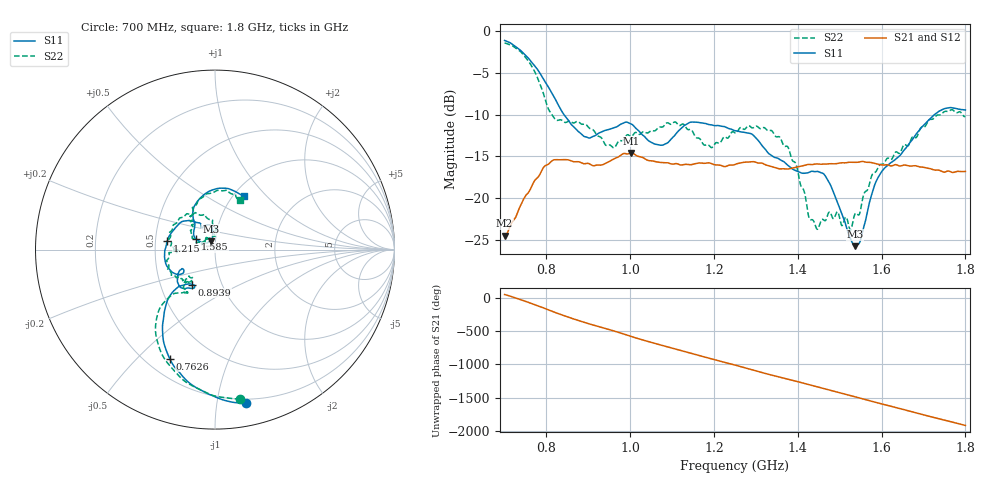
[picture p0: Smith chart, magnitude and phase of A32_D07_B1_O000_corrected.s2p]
! Created with skrf 1.9.0 (http://scikit-rf.org).
# Hz S RI R 50.0
!freq ReS11 ImS11 ReS21 ImS21 ReS12 ImS12 ReS22 ImS22
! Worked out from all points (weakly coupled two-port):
!   1601 points, 700 MHz to 1.8 GHz, reference 50 ohm
!   highest |S21| = -14.60 dB at 1.002 GHz (marker M1); lowest = -24.4 dB at 700 MHz (marker M2)
!   lowest |S11| = -25.7 dB at 1.537 GHz (marker M3), VSWR 1.11, Z = 47.4 + j4.37 ohm
!   |S11| at or under -10 dB: 841.5 MHz to 1.727 GHz (885.1 MHz wide, 68.9 % of centre)
!   |S22| runs from -23.8 to -1.5 dB; largest |S21 - S12| = 0.0034
!   S11 on the Smith chart (normalised r, x): 700 MHz: 0.17, -1.21; 762.6 MHz: 0.29, -0.63; 893.9 MHz: 0.72, -0.30; 1.215 GHz: 0.58, +0.06; 1.585 GHz: 0.80, +0.10; 1.8 GHz: 1.12, +0.75
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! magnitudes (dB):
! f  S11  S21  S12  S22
! 700 MHz  -1.2  -24.4  -24.2  -1.5
! 762.6 MHz  -3.6  -18.8  -18.8  -4.1
! 818.9 MHz  -8.0  -15.4  -15.5  -10.5
! 883.6 MHz  -12.3  -15.8  -15.7  -11.1
! 893.9 MHz  -12.7  -15.8  -15.9  -11.2
! 958.5 MHz  -11.6  -15.4  -15.4  -13.9
! 1.002 GHz  -11.1  -14.6  -14.7  -12.6
! 1.067 GHz  -13.6  -15.7  -15.6  -11.6
! 1.143 GHz  -10.9  -16.0  -16.0  -11.8
! 1.215 GHz  -11.4  -16.1  -16.0  -13.4
! 1.25 GHz  -11.9  -16.0  -15.9  -12.2
! 1.357 GHz  -15.3  -16.5  -16.4  -12.7
! 1.395 GHz  -16.7  -16.3  -16.3  -15.8
! 1.434 GHz  -16.8  -16.0  -15.9  -22.5
! 1.471 GHz  -17.8  -15.9  -15.9  -22.1
! 1.526 GHz  -24.8  -15.7  -15.7  -23.8
! 1.537 GHz  -25.7  -15.7  -15.7  -21.8
! 1.55 GHz  -24.9  -15.6  -15.6  -21.4
! 1.585 GHz  -18.1  -15.9  -15.9  -16.9
! 1.617 GHz  -16.0  -16.1  -16.0  -15.2
! 1.733 GHz  -9.8  -16.6  -16.6  -10.1
! 1.8 GHz  -9.5  -16.8  -16.8  -10.2
